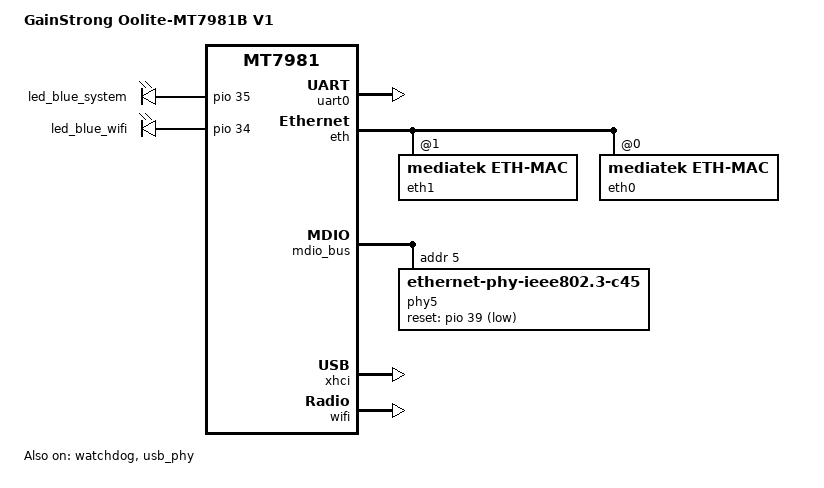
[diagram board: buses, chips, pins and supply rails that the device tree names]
#include "mt7981.dtsi"

/ {
	model = "GainStrong Oolite-MT7981B V1";

	chosen {
		stdout-path = "serial0:115200n8";
	};

	aliases {
		serial0 = &uart0;
		led-boot = &led_system;
		led-failsafe = &led_system;
		led-running = &led_system;
		led-upgrade = &led_system;
	};

	leds {
		compatible = "gpio-leds";

		led_system: led_blue_system {
			label = "led_blue_system";
			gpios = <&pio 35 GPIO_ACTIVE_HIGH>;
			default-state = "on";
		};

		led_blue_wifi {
			label = "led_blue_wifi";
			gpios = <&pio 34 GPIO_ACTIVE_HIGH>;
		};
	};
};

&uart0 {
	status = "okay";
};

&watchdog {
	status = "okay";
};

&eth {
	pinctrl-names = "default";
	pinctrl-0 = <&mdio_pins>;
	status = "okay";

	// LAN: CPU built-in Gigabit Ethernet
	eth1: eth1 {
		compatible = "mediatek,eth-mac";
		reg = <1>;
		phy-mode = "gmii";
		phy-handle = <&int_gbe_phy>;
	};

	// WAN: RTL8221B-VB-CG 2.5G Ethernet PHY on the dev board
	eth0: eth0 {
		compatible = "mediatek,eth-mac";
		reg = <0>;
		phy-mode = "2500base-x";
		phy-handle = <&phy5>;
		status = "okay";
	};
};

&mdio_bus {
	phy5: ethernet-phy@5 {
		compatible = "ethernet-phy-ieee802.3-c45";
		reg = <5>;
		reset-assert-us = <100000>;
		reset-deassert-us = <100000>;
		reset-gpios = <&pio 39 GPIO_ACTIVE_LOW>;
		realtek,aldps-enable;
		realtek,led-link-select = <0xa7 0x0 0x0>;
	};
};

&usb_phy {
	status = "okay";
};

&xhci {
	status = "okay";
};

&wifi {
	status = "okay";
};
